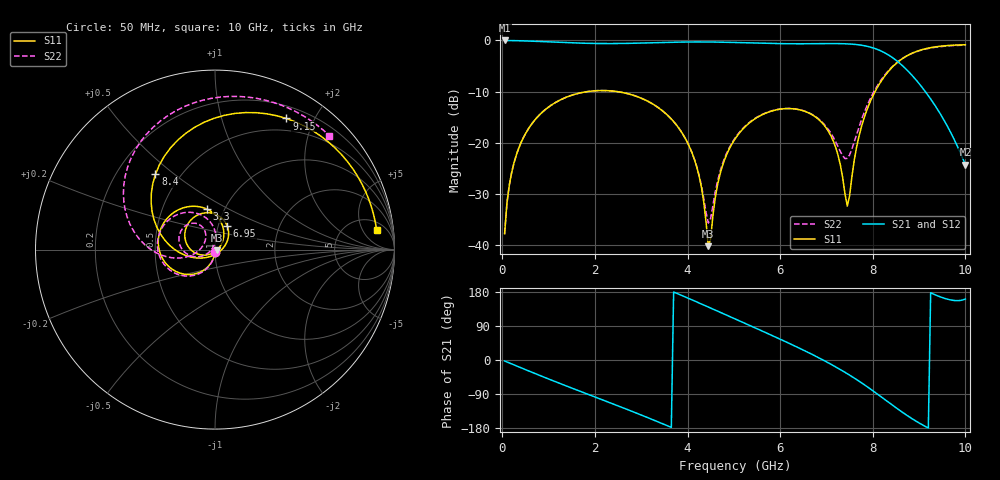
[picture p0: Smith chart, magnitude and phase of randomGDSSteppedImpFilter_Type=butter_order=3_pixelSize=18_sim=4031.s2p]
! freq	dB(S11)	phase(S11)	dB(S12)	phase(S12)
!  dB(S21)	phase(S21)	dB(S22)	phase(S22)
!S-par simulation data
#  GHz  S  DB  R 50
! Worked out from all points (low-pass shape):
!   200 points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, 50 MHz to 10 GHz, reference 50 ohm
!   highest |S21| = -0.01 dB at 50 MHz (marker M1); lowest = -24.3 dB at 10 GHz (marker M2)
!   |S21| within 3 dB of the highest: start of sweep to 8.367 GHz
!   lowest |S11| = -40.3 dB at 4.45 GHz (marker M3), VSWR 1.02, Z = 50.8 - j0.488 ohm
!   |S11| at or under -10 dB: start of sweep to 1.847 GHz; 2.471 GHz to 8.05 GHz (5.579 GHz wide, 106 % of centre)
!   |S22| runs from -37.8 to -0.9 dB; largest |S21 - S12| = 0
!   S11 on the Smith chart (normalised r, x): 50 MHz: 1.00, -0.03; 3.3 GHz: 0.83, +0.39; 6.95 GHz: 1.11, +0.30; 8.4 GHz: 0.37, +0.43; 9.15 GHz: 0.34, +1.63; 10 GHz: 8, +10
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0.05  -37.84 -92.3  -0.01 -2.6  -0.01 -2.6  -37.84 -92.1
0.2  -25.94 -100.8  -0.03 -10.2  -0.03 -10.2  -25.94 -100.1
0.5  -18.26 -116.8  -0.10 -25.4  -0.10 -25.4  -18.26 -115.0
1.75  -10.14 -179.8  -0.54 -85.8  -0.54 -85.8  -10.14 -173.2
2.5  -10.04 143.2  -0.60 -121.1  -0.60 -121.1  -10.04 153.6
3.3  -12.73 101.6  -0.44 -160.0  -0.44 -160.0  -12.73 118.0
3.4  -13.35 96.1  -0.42 -165.1  -0.42 -165.1  -13.36 113.6
4.15  -23.32 49.5  -0.30 155.8  -0.30 155.8  -23.28 86.6
4.3  -28.74 34.3  -0.30 147.8  -0.30 147.8  -28.42 90.8
4.45  -40.26 -29.6  -0.30 139.7  -0.30 139.7  -35.72 140.1
4.7  -26.24 -144.1  -0.33 126.2  -0.33 126.2  -25.73 -152.3
5.05  -18.95 -170.7  -0.41 107.2  -0.41 107.2  -18.80 -159.4
5.85  -13.73 138.8  -0.61 63.3  -0.61 63.3  -13.69 165.9
6.7  -14.59 81.9  -0.64 14.2  -0.64 14.2  -14.54 128.2
6.95  -16.60 62.4  -0.62 -1.5  -0.62 -1.5  -16.40 120.0
7.25  -22.45 31.0  -0.62 -21.7  -0.62 -21.7  -20.78 123.9
7.45  -32.41 -53.0  -0.67 -36.2  -0.67 -36.2  -23.08 159.9
7.8  -15.54 -168.7  -1.00 -63.8  -1.00 -63.8  -14.46 -166.0
8.35  -5.93 133.3  -2.90 -112.4  -2.90 -112.4  -5.80 160.9
8.4  -5.43 128.3  -3.20 -116.9  -3.20 -116.9  -5.32 156.9
9.15  -1.60 61.4  -10.20 -176.3  -10.20 -176.3  -1.66 98.2
10  -0.85 7.0  -24.32 160.9  -24.32 160.9  -0.92 44.8
